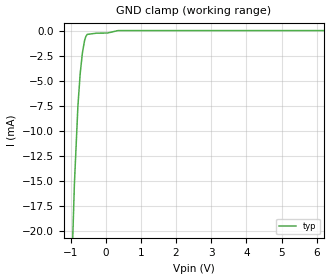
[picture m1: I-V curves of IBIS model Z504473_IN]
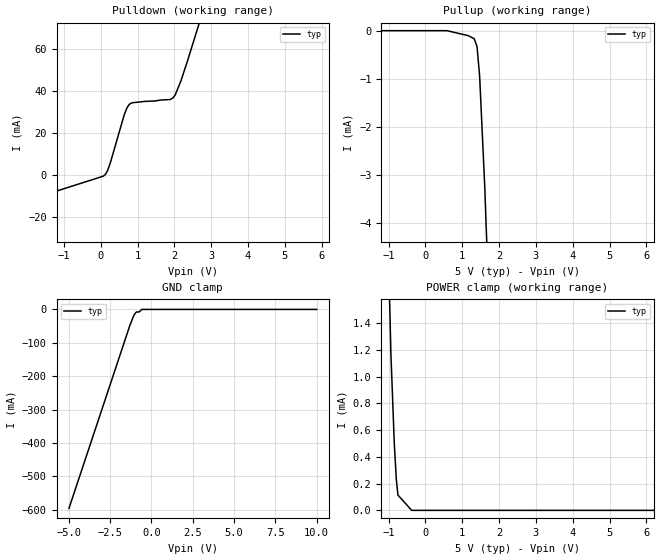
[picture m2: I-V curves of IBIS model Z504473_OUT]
| YOU ARE ONLY AUTHORIZED TO USE THIS SOFTWARE
| ACCORDING TO LICENSOR'S LICENSE RESTRICTIONS.
[IBIS Ver] 3.1
[File Name] sn54ls73aj.ibs
[File Rev] 2.0
[Source] Measured and created by ICX Technology
[Date] Friday 7/14/00 9:08:15 AM
[Copyright]
| (C) COPYRIGHT 1993-2000
| MENTOR GRAPHICS CORPORATION
| ICX STANDARD LIBRARY, ICX PROJECT MODELING,
| ICX CUSTOM MODELING, ICX VENDOR MODEL
| ALL RIGHTS RESERVED.
| THE FOLLOWING ARE TRADEMARKS OR SERVICE MARKS OF
| MENTOR GRAPHICS CORPORATION:ICX (R), ICX STANDARD
| LIBRARY(R), ICX PROJECT MODELING(R), ICX CUSTOM
| MODELING(R), qualityIBIS(TM), MODELVIEWER(TM),
| AND MODELEDITOR(TM)
| ALL COPIES OF SOFTWARE, INCLUDING BUT NOT LIMITED TO
| ANY MODIFICATIONS, ENHANCEMENTS OR DERIVATIVE WORKS,
| MUST CONTAIN ALL MENTOR GRAPHICS CORPORATION'S
| NOTICES AND LEGENDS, INCLUDING THOSE EMBEDDED IN
| SOFTWARE AND THOSE AFFIXED TO SOFTWARE MEDIUM
| AND CONTAINER, AS RECEIVED FROM MENTOR GRAPHICS
| CORPORATION.
|  ZAP Model Builder 2.7
[Component] SN54LS73AJ
[Manufacturer] OnSemiconductor
[Package]
| variable   typ   min   max
R_pkg  .21ohms NA NA
L_pkg  4.543nH NA NA
C_pkg  1.8pF NA NA
[Pin] signal_name  model_name  R_pin  L_pin C_pin
1 CLK Z504473_IN .22 6.757n 2.434p
2 _CLR Z504473_IN .212 4.757n 1.941p
3 K Z504473_IN .204 3.257n 1.448p
4 VCC POWER .196 2.257n .955p
5 CLK Z504473_IN .204 3.257n 1.448p
6 _CLR Z504473_IN .212 4.757n 1.941p
7 J Z504473_IN .22 6.757n 2.434p
8 _Q Z504473_OUT .22 6.757n 2.434p
9 Q Z504473_OUT .212 4.757n 1.941p
10 K Z504473_IN .204 3.257n 1.448p
11 GND GND .196 2.257n .955p
12 Q Z504473_OUT .204 3.257n 1.448p
13 _Q Z504473_OUT .212 4.757n 1.941p
14 J Z504473_IN .22 6.757n 2.434p
| Models and submodels in the file (2): Z504473_IN (Input), Z504473_OUT (Output)
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| (C) COPYRIGHT 1993-2000
| MENTOR GRAPHICS CORPORATION
| ICX STANDARD LIBRARY, ICX PROJECT MODELING,
| ICX CUSTOM MODELING, ICX VENDOR MODEL
| ALL RIGHTS RESERVED.
| THE FOLLOWING ARE TRADEMARKS OR SERVICE MARKS OF
| MENTOR GRAPHICS CORPORATION:ICX (R), ICX STANDARD
| LIBRARY(R), ICX PROJECT MODELING(R), ICX CUSTOM
| MODELING(R), qualityIBIS(TM), MODELVIEWER(TM),
| AND MODELEDITOR(TM)
| ALL COPIES OF SOFTWARE, INCLUDING BUT NOT LIMITED TO
| ANY MODIFICATIONS, ENHANCEMENTS OR DERIVATIVE WORKS,
| MUST CONTAIN ALL MENTOR GRAPHICS CORPORATION'S
| NOTICES AND LEGENDS, INCLUDING THOSE EMBEDDED IN
| SOFTWARE AND THOSE AFFIXED TO SOFTWARE MEDIUM
| AND CONTAINER, AS RECEIVED FROM MENTOR GRAPHICS
| CORPORATION.
| Model Application Version 1.89 2/18/99.
[Model] Z504473_IN
Model_type Input
Vinl = 800.0mV
Vinh = 2.000V
C_comp 4.000pF NA NA
| variable typ   min   max
[Voltage Range] 5.000V NA NA
[GND Clamp Reference] 0.000V NA NA
[POWER Clamp Reference] 5.000V NA NA
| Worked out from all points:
|   GND clamp passes 1 mA (typ) near -0.60 V on its own axis
[GND Clamp]
-5V       -488.3mA   NA         NA
-891.1mV  -15.37mA   NA         NA
-790.9mV  -7.528mA   NA         NA
-726.5mV  -4.309mA   NA         NA
-664mV    -2.258mA   NA         NA
-600.3mV  -963.1uA   NA         NA
-564.3mV  -579.3uA   NA         NA
-527.3mV  -375.6uA   NA         NA
-263.7mV  -255.5uA   NA         NA
49.4mV    -240.5uA   NA         NA
351.6mV   4.482uA    NA         NA
10V       4.482uA    NA         NA
[POWER Clamp]
-5V       0A         NA         NA
10V       0A         NA         NA
| (C) COPYRIGHT 1993-2000
| MENTOR GRAPHICS CORPORATION
| ICX STANDARD LIBRARY, ICX PROJECT MODELING,
| ICX CUSTOM MODELING, ICX VENDOR MODEL
| ALL RIGHTS RESERVED.
| THE FOLLOWING ARE TRADEMARKS OR SERVICE MARKS OF
| MENTOR GRAPHICS CORPORATION:ICX (R), ICX STANDARD
| LIBRARY(R), ICX PROJECT MODELING(R), ICX CUSTOM
| MODELING(R), qualityIBIS(TM), MODELVIEWER(TM),
| AND MODELEDITOR(TM)
| ALL COPIES OF SOFTWARE, INCLUDING BUT NOT LIMITED TO
| ANY MODIFICATIONS, ENHANCEMENTS OR DERIVATIVE WORKS,
| MUST CONTAIN ALL MENTOR GRAPHICS CORPORATION'S
| NOTICES AND LEGENDS, INCLUDING THOSE EMBEDDED IN
| SOFTWARE AND THOSE AFFIXED TO SOFTWARE MEDIUM
| AND CONTAINER, AS RECEIVED FROM MENTOR GRAPHICS
| CORPORATION.
| Model Application Version 1.89 2/18/99.
[Model] Z504473_OUT
Model_type Output
Vref=5.000V
Rref=2.000kohms
Cref=15.00pF
Vmeas=1.300V
C_comp 8.000pF NA NA
| variable typ   min   max
[Voltage Range] 5.000V NA NA
[POWER Clamp Reference] 5.000V NA NA
[Pullup Reference] 5.000V NA NA
[Pulldown Reference] 0.000V NA NA
[GND Clamp Reference] 0.000V NA NA
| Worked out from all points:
|   slope of the pulldown table from 0 to 0.75 V, typ, clamps not added: 22.1 ohm
|   slope of the pullup table from 0 to 0.75 V, typ, clamps not added: 25.3 kohm
|   GND clamp passes 1 mA (typ) near -0.61 V on its own axis
|   POWER clamp passes 1 mA (typ) near -0.91 V on its own axis
[GND Clamp]
-5V       -596.3mA   NA         NA
-1.308V   -47.71mA   NA         NA
-1.115V   -23.57mA   NA         NA
-1.025V   -14.41mA   NA         NA
-906.6mV  -7.55mA    NA         NA
-746.3mV  -7.55mA    NA         NA
-586mV    0A         NA         NA
10V       0A         NA         NA
[Pulldown]
-5V       -28.89mA   NA         NA
68.36mV   -506.8uA   NA         NA
186.3mV   2.198mA    NA         NA
262.5mV   5.925mA    NA         NA
634.8mV   28.56mA    NA         NA
771.4mV   33.64mA    NA         NA
1.885V    36.02mA    NA         NA
1.966V    36.86mA    NA         NA
2.022V    38.19mA    NA         NA
2.177V    44.87mA    NA         NA
2.344V    53.78mA    NA         NA
10V       484.2mA    NA         NA
[Pullup]
-5V       8.82uA     NA         NA
586mV     8.82uA     NA         NA
1.163V    -95.44uA   NA         NA
1.323V    -158.2uA   NA         NA
1.401V    -321.7uA   NA         NA
1.472V    -941.2uA   NA         NA
1.611V    -3.248mA   NA         NA
10V       -183.4mA   NA         NA
[POWER Clamp]
-5V       46.47mA    NA         NA
-937mV    1.166mA    NA         NA
-845mV    496.1uA    NA         NA
-790mV    229.7uA    NA         NA
-747mV    114.5uA    NA         NA
-373.5mV  0A         NA         NA
10V       0A         NA         NA
[Ramp]
| variable typ min max
dV/dt_r 1.889/12.40n NA NA
dV/dt_f 1.889/4.113n NA NA
R_load = 500.0Ohms
